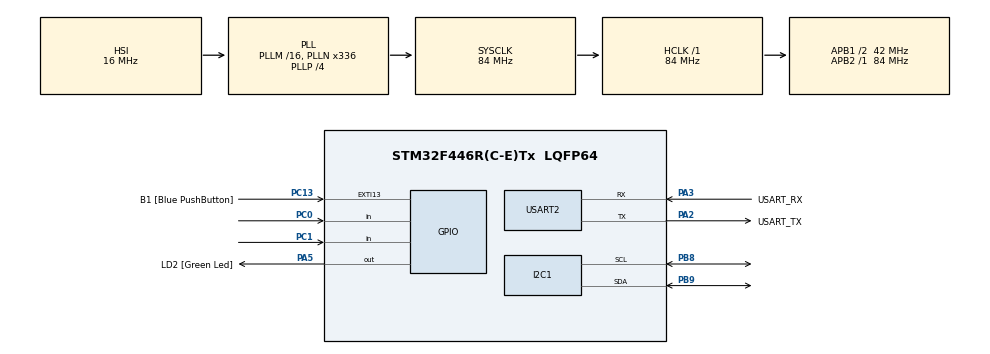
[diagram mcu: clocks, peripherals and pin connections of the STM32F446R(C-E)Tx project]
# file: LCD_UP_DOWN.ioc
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Mcu.Family=STM32F4
Mcu.Name=STM32F446R(C-E)Tx
Mcu.Package=LQFP64
NVIC.PriorityGroup=NVIC_PRIORITYGROUP_0
PA13.GPIO_Label=TMS
PA13.Mode=Serial_Wire
PA13.Signal=SYS_JTMS-SWDIO
PA14.GPIO_Label=TCK
PA14.Mode=Serial_Wire
PA14.Signal=SYS_JTCK-SWCLK
PA2.GPIO_Label=USART_TX
PA2.Mode=Asynchronous
PA2.Signal=USART2_TX
PA3.GPIO_Label=USART_RX
PA3.Mode=Asynchronous
PA3.Signal=USART2_RX
PA5.GPIO_Label=LD2 [Green Led]
PA5.Signal=GPIO_Output
PB3.GPIO_Label=SWO
PB3.Signal=SYS_JTDO-SWO
PB8.Mode=I2C
PB8.Signal=I2C1_SCL
PB9.Mode=I2C
PB9.Signal=I2C1_SDA
PC0.GPIO_PuPd=GPIO_PULLUP
PC0.Signal=GPIO_Input
PC1.GPIO_PuPd=GPIO_PULLUP
PC1.Signal=GPIO_Input
PC13.GPIO_Label=B1 [Blue PushButton]
PC13.GPIO_ModeDefaultEXTI=GPIO_MODE_IT_FALLING
PC13.Signal=GPXTI13
PC14-OSC32_IN.Mode=LSE-External-Oscillator
PC14-OSC32_IN.Signal=RCC_OSC32_IN
PC15-OSC32_OUT.Mode=LSE-External-Oscillator
PC15-OSC32_OUT.Signal=RCC_OSC32_OUT
PH0-OSC_IN.Mode=HSE-External-Oscillator
PH0-OSC_IN.Signal=RCC_OSC_IN
PH1-OSC_OUT.Mode=HSE-External-Oscillator
PH1-OSC_OUT.Signal=RCC_OSC_OUT
ProjectManager.HeapSize=0x200
ProjectManager.StackSize=0x400
ProjectManager.TargetToolchain=STM32CubeIDE
RCC.48MHZClocksFreq_Value=84000000
RCC.AHBFreq_Value=84000000
RCC.APB1CLKDivider=RCC_HCLK_DIV2
RCC.APB1Freq_Value=42000000
RCC.APB1TimFreq_Value=84000000
RCC.APB2Freq_Value=84000000
RCC.APB2TimFreq_Value=84000000
RCC.CortexFreq_Value=84000000
RCC.FLatency-AdvancedSettings=FLASH_LATENCY_2
RCC.HCLKFreq_Value=84000000
RCC.HSE_VALUE=8000000
RCC.HSI_VALUE=16000000
RCC.PLLN=336
RCC.PLLP=RCC_PLLP_DIV4
RCC.SYSCLKFreq_VALUE=84000000
RCC.SYSCLKSource=RCC_SYSCLKSOURCE_PLLCLK
RCC.USBFreq_Value=168000000
RCC.VCOOutputFreq_Value=336000000
USART2.VirtualMode=VM_ASYNC
board=NUCLEO-F446RE

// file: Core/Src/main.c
/* USER CODE BEGIN Header */
/**
  ******************************************************************************
  * @file           : main.c
  * @brief          : Main program body
  ******************************************************************************
  * @attention
  *
  * Copyright (c) 2023 STMicroelectronics.
  * All rights reserved.
  *
  * This software is licensed under terms that can be found in the LICENSE file
  * in the root directory of this software component.
  * If no LICENSE file comes with this software, it is provided AS-IS.
  *
  ******************************************************************************
  */
/* USER CODE END Header */
#include "main.h"

/* USER CODE BEGIN Includes */
#include "liquidcrystal_i2c.h"
/* USER CODE END Includes */

I2C_HandleTypeDef hi2c1;

UART_HandleTypeDef huart2;

void SystemClock_Config(void);
static void MX_GPIO_Init(void);
static void MX_USART2_UART_Init(void);
static void MX_I2C1_Init(void);

/* USER CODE BEGIN 0 */
char arr[6][15]={"1.Deepak","2.Satyam","3.Subham","4.Ghanshyam","5.Sid","6.Suraj"};
/* USER CODE END 0 */

int main(void)
{

  /* MCU Configuration--------------------------------------------------------*/

  /* Reset of all peripherals, Initializes the Flash interface and the Systick. */
  HAL_Init();

  /* Configure the system clock */
  SystemClock_Config();

  /* Initialize all configured peripherals */
  MX_GPIO_Init();
  MX_USART2_UART_Init();
  MX_I2C1_Init();
  /* USER CODE BEGIN 2 */
  HD44780_Init(2);
  HD44780_Clear();

//  HD44780_SetCursor(0,0);
//  HD44780_PrintStr(arr[2]);
//  HD44780_SetCursor(0,1);
//  HD44780_PrintStr(arr[3]);

//
//  HD44780_PrintStr("HELLO");
//  HD44780_SetCursor(10,1);
//  HD44780_PrintStr("WORLD");
//  HAL_Delay(2000);
//
//  HD44780_Clear();
//  HD44780_SetCursor(0,0);
//  HD44780_PrintStr("HELLO");
//  HAL_Delay(2000);
//  HD44780_NoBacklight();
//  HAL_Delay(2000);
//  HD44780_Backlight();
//
//  HAL_Delay(2000);
//  HD44780_Cursor();
//  HAL_Delay(2000);
//  HD44780_Blink();
//  HAL_Delay(5000);
//  HD44780_NoBlink();
//  HAL_Delay(2000);
//  HD44780_NoCursor();
//  HAL_Delay(2000);
//
//  HD44780_NoDisplay();
//  HAL_Delay(2000);
//  HD44780_Display();
//
//  HD44780_Clear();
//  HD44780_SetCursor(0,0);
//  HD44780_PrintStr("Learning STM32 with LCD is fun :-)");
//  int x;
//  for(int x=0; x<40; x=x+1)
//  {
//    HD44780_ScrollDisplayLeft();  //HD44780_ScrollDisplayRight();
//    HAL_Delay(500);
//  }
//
//  char snum[5];
//  for ( int x = 1; x <= 200 ; x++ )
//  {
//    itoa(x, snum, 10);
//    HD44780_Clear();
//    HD44780_SetCursor(0,0);
//    HD44780_PrintStr(snum);
//    HAL_Delay (1000);
//  }
  /* USER CODE END 2 */

  /* Infinite loop */
  /* USER CODE BEGIN WHILE */
  while (1)
  {
	   int sw1=0;

	  while(sw1<5){
	  if(HAL_GPIO_ReadPin(GPIOC, GPIO_PIN_1)==0 )
	  {
		  sw1++;

		  if(sw1==1){
		  HD44780_Clear();
		  HD44780_Blink();
		  HD44780_SetCursor(0,0);
		  HD44780_PrintStr(arr[0]);
		  HD44780_SetCursor(0,1);
		  HD44780_PrintStr(arr[1]);
		  HAL_Delay(10);
		  }

		  if(sw1==2){
		  HD44780_Clear();
		  HD44780_SetCursor(0,0);
		  HD44780_PrintStr(arr[1]);
		  HD44780_SetCursor(0,1);
		  HD44780_PrintStr(arr[2]);
		  HAL_Delay(10);
		  }

		  if(sw1==3){
		  HD44780_Clear();
		  HD44780_SetCursor(0,0);
		  HD44780_PrintStr(arr[2]);
		  HD44780_SetCursor(0,1);
		  HD44780_PrintStr(arr[3]);
		  HAL_Delay(10);
		  }

		  if(sw1==4){
		  HD44780_Clear();
		  HD44780_SetCursor(0,0);
		  HD44780_PrintStr(arr[3]);
		  HD44780_SetCursor(0,1);
		  HD44780_PrintStr(arr[4]);
		  HAL_Delay(10);
		  }

		  if(sw1==5){
		  HD44780_Clear();
		  HD44780_SetCursor(0,0);
		  HD44780_PrintStr(arr[4]);
		  HD44780_SetCursor(0,1);
		  HD44780_PrintStr(arr[5]);
		  HAL_Delay(10);
		  }
	   }

	  else {
		  HAL_GPIO_WritePin(GPIOA, GPIO_PIN_5, 0);
	  }
	  }
    /* USER CODE END WHILE */

  }
}

void SystemClock_Config(void)
{
  RCC_OscInitTypeDef RCC_OscInitStruct = {0};
  RCC_ClkInitTypeDef RCC_ClkInitStruct = {0};

  /** Configure the main internal regulator output voltage
  */
  __HAL_RCC_PWR_CLK_ENABLE();
  __HAL_PWR_VOLTAGESCALING_CONFIG(PWR_REGULATOR_VOLTAGE_SCALE3);

  /** Initializes the RCC Oscillators according to the specified parameters
  * in the RCC_OscInitTypeDef structure.
  */
  RCC_OscInitStruct.OscillatorType = RCC_OSCILLATORTYPE_HSI;
  RCC_OscInitStruct.HSIState = RCC_HSI_ON;
  RCC_OscInitStruct.HSICalibrationValue = RCC_HSICALIBRATION_DEFAULT;
  RCC_OscInitStruct.PLL.PLLState = RCC_PLL_ON;
  RCC_OscInitStruct.PLL.PLLSource = RCC_PLLSOURCE_HSI;
  RCC_OscInitStruct.PLL.PLLM = 16;
  RCC_OscInitStruct.PLL.PLLN = 336;
  RCC_OscInitStruct.PLL.PLLP = RCC_PLLP_DIV4;
  RCC_OscInitStruct.PLL.PLLQ = 2;
  RCC_OscInitStruct.PLL.PLLR = 2;
  if (HAL_RCC_OscConfig(&RCC_OscInitStruct) != HAL_OK)
  {
    Error_Handler();
  }

  /** Initializes the CPU, AHB and APB buses clocks
  */
  RCC_ClkInitStruct.ClockType = RCC_CLOCKTYPE_HCLK|RCC_CLOCKTYPE_SYSCLK
                              |RCC_CLOCKTYPE_PCLK1|RCC_CLOCKTYPE_PCLK2;
  RCC_ClkInitStruct.SYSCLKSource = RCC_SYSCLKSOURCE_PLLCLK;
  RCC_ClkInitStruct.AHBCLKDivider = RCC_SYSCLK_DIV1;
  RCC_ClkInitStruct.APB1CLKDivider = RCC_HCLK_DIV2;
  RCC_ClkInitStruct.APB2CLKDivider = RCC_HCLK_DIV1;

  if (HAL_RCC_ClockConfig(&RCC_ClkInitStruct, FLASH_LATENCY_2) != HAL_OK)
  {
    Error_Handler();
  }
}

static void MX_I2C1_Init(void)
{

  hi2c1.Instance = I2C1;
  hi2c1.Init.ClockSpeed = 100000;
  hi2c1.Init.DutyCycle = I2C_DUTYCYCLE_2;
  hi2c1.Init.OwnAddress1 = 0;
  hi2c1.Init.AddressingMode = I2C_ADDRESSINGMODE_7BIT;
  hi2c1.Init.DualAddressMode = I2C_DUALADDRESS_DISABLE;
  hi2c1.Init.OwnAddress2 = 0;
  hi2c1.Init.GeneralCallMode = I2C_GENERALCALL_DISABLE;
  hi2c1.Init.NoStretchMode = I2C_NOSTRETCH_DISABLE;
  if (HAL_I2C_Init(&hi2c1) != HAL_OK)
  {
    Error_Handler();
  }

}

static void MX_USART2_UART_Init(void)
{

  huart2.Instance = USART2;
  huart2.Init.BaudRate = 115200;
  huart2.Init.WordLength = UART_WORDLENGTH_8B;
  huart2.Init.StopBits = UART_STOPBITS_1;
  huart2.Init.Parity = UART_PARITY_NONE;
  huart2.Init.Mode = UART_MODE_TX_RX;
  huart2.Init.HwFlowCtl = UART_HWCONTROL_NONE;
  huart2.Init.OverSampling = UART_OVERSAMPLING_16;
  if (HAL_UART_Init(&huart2) != HAL_OK)
  {
    Error_Handler();
  }

}

static void MX_GPIO_Init(void)
{
  GPIO_InitTypeDef GPIO_InitStruct = {0};

  /* GPIO Ports Clock Enable */
  __HAL_RCC_GPIOC_CLK_ENABLE();
  __HAL_RCC_GPIOH_CLK_ENABLE();
  __HAL_RCC_GPIOA_CLK_ENABLE();
  __HAL_RCC_GPIOB_CLK_ENABLE();

  /*Configure GPIO pin Output Level */
  HAL_GPIO_WritePin(LD2_GPIO_Port, LD2_Pin, GPIO_PIN_RESET);

  /*Configure GPIO pin : B1_Pin */
  GPIO_InitStruct.Pin = B1_Pin;
  GPIO_InitStruct.Mode = GPIO_MODE_IT_FALLING;
  GPIO_InitStruct.Pull = GPIO_NOPULL;
  HAL_GPIO_Init(B1_GPIO_Port, &GPIO_InitStruct);

  /*Configure GPIO pins : PC0 PC1 */
  GPIO_InitStruct.Pin = GPIO_PIN_0|GPIO_PIN_1;
  GPIO_InitStruct.Mode = GPIO_MODE_INPUT;
  GPIO_InitStruct.Pull = GPIO_PULLUP;
  HAL_GPIO_Init(GPIOC, &GPIO_InitStruct);

  /*Configure GPIO pin : LD2_Pin */
  GPIO_InitStruct.Pin = LD2_Pin;
  GPIO_InitStruct.Mode = GPIO_MODE_OUTPUT_PP;
  GPIO_InitStruct.Pull = GPIO_NOPULL;
  GPIO_InitStruct.Speed = GPIO_SPEED_FREQ_LOW;
  HAL_GPIO_Init(LD2_GPIO_Port, &GPIO_InitStruct);

}

void Error_Handler(void)
{
  __disable_irq();
  while (1)
  {
  }
}
